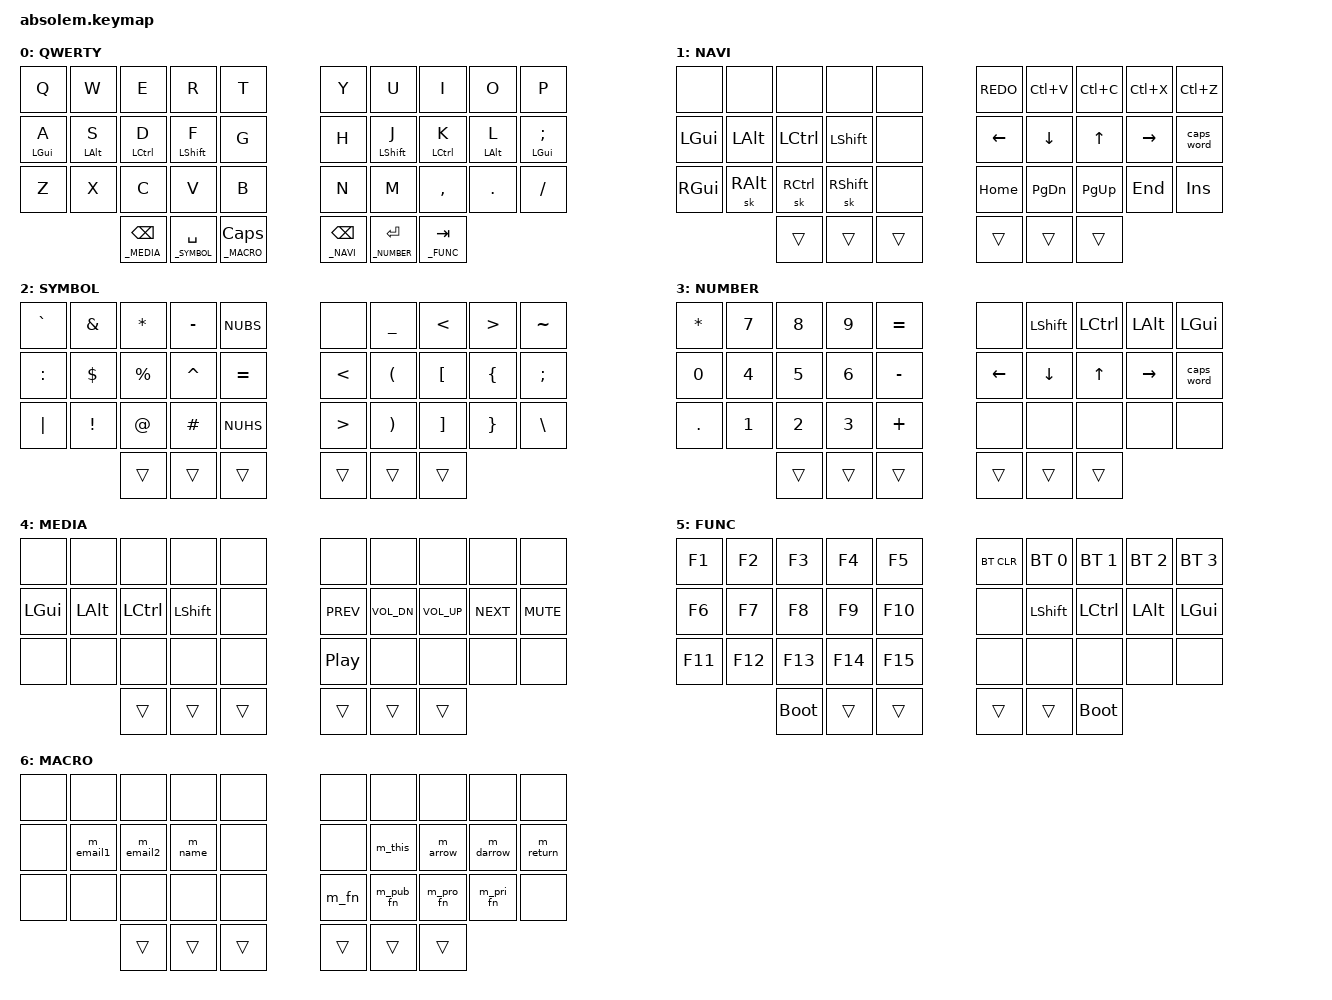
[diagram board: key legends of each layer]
/*
 * Copyright (c) 2020 The ZMK Contributors
 *
 * SPDX-License-Identifier: MIT
 */

#include <behaviors.dtsi>
#include <dt-bindings/zmk/keys.h>
#include <dt-bindings/zmk/bt.h>
#include <dt-bindings/zmk/ext_power.h>
#include "zmk-helpers/helper.h"

#define _DEFAULT 0
#define _NAVI 1
#define _SYMBOL 2
#define _NUMBER 3
#define _MEDIA 4
#define _FUNC 5
#define _MACRO 6

#define TAPPING_TERM 200
#define QUICK_TAP 149


&lt {
	tapping-term-ms = <TAPPING_TERM>;
	quick-tap-ms = <QUICK_TAP>;
};

&mt {
	tapping-term-ms = <TAPPING_TERM>;
	quick-tap-ms = <QUICK_TAP>;
};


/ {
	/* Key index
	0  1  2  3  4         5  6  7  8  9
	10 11 12 13 14        15 16 17 18 19
	20 21 22 23 24        25 26 27 28 29
	        30 31 32    33 34 35         */

	combos {
		compatible = "zmk,combos";

		combo_quote {
			timeout-ms = <50>;
			key-positions = <17 18 19>;
			bindings = <&kp SQT>;
		};
		combo_esc {
			timeout-ms = <50>;
			key-positions = <11 12 13>;
			bindings = <&kp ESC>;
		};
		combo_shift {
			timeout-ms = <50>;
			key-positions = <31 34>;
			bindings = <&kp LSHFT>;
		};
	};

	macros {
		m_this: m_this {
			compatible = "zmk,behavior-macro";
			#binding-cells = <0>;
			wait-ms = <10>;
			tap-ms = <10>;
			bindings = <&kp DLLR &kp T &kp H &kp I &kp S &kp MINUS &kp GT>;
		};
		m_arrow: m_arrow {
			compatible = "zmk,behavior-macro";
			#binding-cells = <0>;
			wait-ms = <10>;
			tap-ms = <10>;
			bindings = <&kp MINUS &kp GT>;
		};
		m_darrow: m_darrow {
			compatible = "zmk,behavior-macro";
			#binding-cells = <0>;
			wait-ms = <10>;
			tap-ms = <10>;
			bindings = <&kp EQUAL &kp GT>;
		};
		m_fn: m_fn {
			compatible = "zmk,behavior-macro";
			#binding-cells = <0>;
			wait-ms = <10>;
			tap-ms = <10>;
			bindings = <&kp F &kp U &kp N &kp C &kp T &kp I &kp O &kp N &kp SPACE>;
		};
		m_pub_fn: m_pub_fn {
			compatible = "zmk,behavior-macro";
			#binding-cells = <0>;
			wait-ms = <10>;
			tap-ms = <10>;
			bindings = <&kp P &kp U &kp B &kp L &kp I &kp C &kp SPACE &kp F &kp U &kp N &kp C &kp T &kp I &kp O &kp N &kp SPACE>;
		};
		m_pro_fn: m_pro_fn {
			compatible = "zmk,behavior-macro";
			#binding-cells = <0>;
			wait-ms = <10>;
			tap-ms = <10>;
			bindings = <&kp P &kp R &kp O &kp T &kp E &kp C &kp T &kp E &kp D &kp SPACE &kp F &kp U &kp N &kp C &kp T &kp I &kp O &kp N &kp SPACE>;
		};
		m_pri_fn: m_pri_fn {
			compatible = "zmk,behavior-macro";
			#binding-cells = <0>;
			wait-ms = <10>;
			tap-ms = <10>;
			bindings = <&kp P &kp R &kp I &kp V &kp A &kp T &kp E &kp SPACE &kp F &kp U &kp N &kp C &kp T &kp I &kp O &kp N &kp SPACE>;
		};
		m_return: m_return {
			compatible = "zmk,behavior-macro";
			#binding-cells = <0>;
			wait-ms = <10>;
			tap-ms = <10>;
			bindings = <&kp R &kp E &kp T &kp U &kp R &kp N &kp SPACE>;
		};
		m_email1: m_email1 {
			compatible = "zmk,behavior-macro";
			#binding-cells = <0>;
			wait-ms = <10>;
			tap-ms = <10>;
			bindings = <&kp N &kp E &kp I &kp L &kp AT &kp M &kp O &kp T &kp I &kp O &kp N &kp A &kp L &kp DOT &kp I &kp O>;
		};
		m_email2: m_email2 {
			compatible = "zmk,behavior-macro";
			#binding-cells = <0>;
			wait-ms = <10>;
			tap-ms = <10>;
			bindings = <&kp N &kp E &kp I &kp L &kp G &kp I &kp L &kp M &kp O &kp U &kp R &kp AT &kp M &kp A &kp C &kp DOT &kp C &kp O &kp M>;
		};
		m_name: m_name {
			compatible = "zmk,behavior-macro";
			#binding-cells = <0>;
			wait-ms = <10>;
			tap-ms = <10>;
			bindings = <&kp LS(N) &kp E &kp I &kp L &kp SPACE &kp LS(G) &kp I &kp L &kp M &kp O &kp U &kp R>;
		};
	};

	behaviors {
		hm: homerow_mods {
			compatible = "zmk,behavior-hold-tap";
			label = "HOMEROW_MODS";
			#binding-cells = <2>;
			tapping-term-ms = <TAPPING_TERM>;
			quick-tap-ms = <QUICK_TAP>;
			flavor = "tap-preferred";
			bindings = <&kp>, <&kp>;
		};
	};

	keymap {
		compatible = "zmk,keymap";

		default_layer {
			label = "QWERTY";
			bindings = <
			&kp Q       &kp W       &kp E        &kp R        &kp T          &kp Y  &kp U        &kp I        &kp O       &kp P
			&hm LGUI A  &hm LALT S  &hm LCTRL D  &hm LSHFT F  &kp G          &kp H  &hm LSHFT J  &hm LCTRL K  &hm LALT L  &hm LGUI SEMI
			&kp Z       &kp X       &kp C        &kp V        &kp B          &kp N  &kp M        &kp COMMA    &kp DOT     &kp FSLH
			                   &lt _MEDIA BSPC  &lt _SYMBOL SPC  &lt _MACRO CAPS    &lt _NAVI BSPC  &lt _NUMBER RET  &lt _FUNC TAB
			>;
		};

		navi_layer {
			label = "NAVI";
			bindings = <
			&none     &none     &none      &none      &none      &kp K_REDO  &kp LC(V)  &kp LC(C)  &kp LC(X)  &kp LC(Z)
			&kp LGUI  &kp LALT  &kp LCTRL  &kp LSHFT  &none      &kp LEFT    &kp DOWN   &kp UP     &kp RIGHT  &caps_word
			&kp RGUI  &sk RALT  &sk RCTRL  &sk RSHFT  &none      &kp HOME    &kp PG_DN  &kp PG_UP  &kp END    &kp INS
			                      &trans      &trans      &trans         &trans      &trans      &trans
			>;
		};

		symbol_layer {
			label = "SYMBOL";
			bindings = <
			&kp GRAVE  &kp AMPS  &kp STAR   &kp MINUS  &kp NUBS      &none   &kp UNDER  &kp LT    &kp GT    &kp TILDE
			&kp COLON  &kp DLLR  &kp PRCNT  &kp CARET  &kp EQUAL     &kp LT  &kp LPAR   &kp LBKT  &kp LBRC  &kp SEMI
			&kp PIPE   &kp EXCL  &kp AT     &kp HASH   &kp NUHS      &kp GT  &kp RPAR   &kp RBKT  &kp RBRC  &kp BSLH
			                       &trans      &trans      &trans        &trans  &trans     &trans
			>;
		};

		number_layer {
			label = "NUMBER";
			bindings = <
			&kp STAR  &kp N7  &kp N8  &kp N9  &kp EQUAL     &none  &kp LSHFT  &kp LCTRL  &kp LALT  &kp LGUI
			&kp N0    &kp N4  &kp N5  &kp N6  &kp MINUS     &kp LEFT    &kp DOWN   &kp UP     &kp RIGHT  &caps_word
			&kp DOT   &kp N1  &kp N2  &kp N3  &kp PLUS      &none  &none      &none      &none     &none
			                  &trans   &trans   &trans          &trans  &trans     &trans
			>;
		};

		media_layer {
			label = "MEDIA";
			bindings = <
			&none     &none     &none      &none      &none      &none       &none         &none         &none       &none
			&kp LGUI  &kp LALT  &kp LCTRL  &kp LSHFT  &none      &kp C_PREV  &kp C_VOL_DN  &kp C_VOL_UP  &kp C_NEXT  &kp K_MUTE
			&none     &none     &none      &none      &none      &kp C_PP    &none         &none         &none       &none
			                       &trans      &trans      &trans         &trans      &trans        &trans
			>;
		};

		function_layer {
			label = "FUNC";
			bindings = <
			&kp F1   &kp F2   &kp F3   &kp F4   &kp F5       &bt BT_CLR  &bt BT_SEL 0  &bt BT_SEL 1  &bt BT_SEL 2  &bt BT_SEL 3
			&kp F6   &kp F7   &kp F8   &kp F9   &kp F10      &none       &kp LSHFT     &kp LCTRL     &kp LALT      &kp LGUI
			&kp F11  &kp F12  &kp F13  &kp F14  &kp F15      &none       &none         &none         &none         &none
			                &bootloader  &trans   &trans           &trans      &trans        &bootloader
			>;
		};

		macro_layer {
			label = "MACRO";
			bindings = <
			&none  &none      &none      &none    &none      &none   &none      &none      &none      &none
			&none  &m_email1  &m_email2  &m_name  &none      &none   &m_this    &m_arrow   &m_darrow  &m_return
			&none  &none      &none      &none    &none      &m_fn   &m_pub_fn  &m_pro_fn  &m_pri_fn  &none
			                     &trans      &trans    &trans         &trans  &trans     &trans
			>;
		};

	};
};
